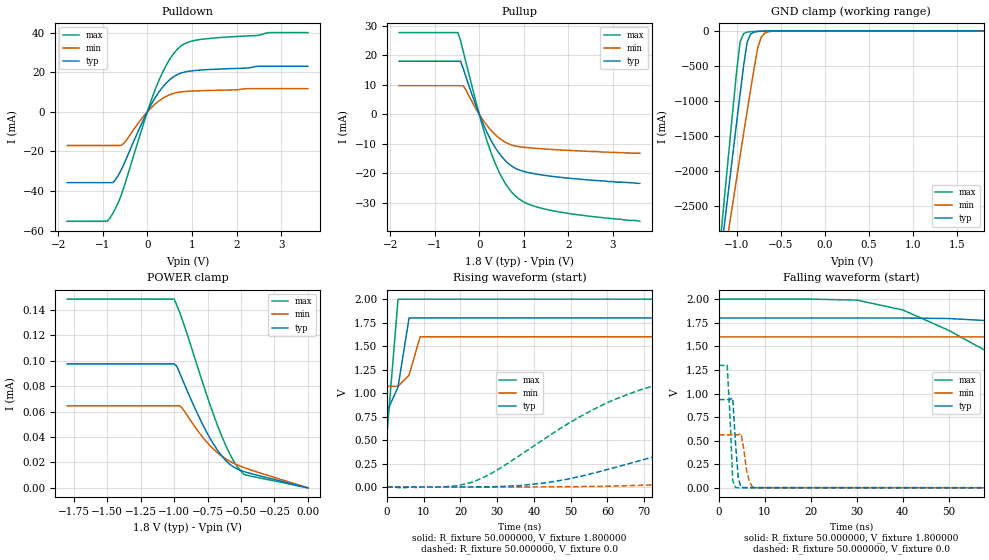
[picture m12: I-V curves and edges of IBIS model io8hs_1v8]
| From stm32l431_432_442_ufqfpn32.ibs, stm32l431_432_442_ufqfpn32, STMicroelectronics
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|   Model io8hs_1v8
[Model]  io8hs_1v8
Model_type I/O
Polarity   Non-Inverting
Enable   Active-Low
Vinl =   0.540000V
Vinh =   1.260000V
Vmeas =  0.900000V
Cref =   100.000000nF
Rref =   1.000000k
Vref =   1.800000V
C_comp   2.197300pF   2.162700pF   2.264100pF
[Temperature Range]   25.000000   0.125000k   -40.000000
[Pullup Reference]   1.800000V   1.600000V   2.000000V
[Pulldown Reference]   0.0V   0.0V   0.0V
[POWER Clamp Reference]   1.800000V   1.600000V   2.000000V
[GND Clamp Reference]   0.0V   0.0V   0.0V
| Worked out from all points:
|   slope of the pulldown table from 0 to 0.27 V, typ, clamps not added: 26.2 ohm
|   slope of the pullup table from 0 to 0.27 V, typ, clamps not added: 30.1 ohm
|   GND clamp passes 1 mA (typ) near -0.58 V on its own axis
|   rising waveform, R_fixture 50.000000, V_fixture 1.800000: 20-80 % time 2.89ns typ, 2.57ns min, 1.8ns max; typ from 0.805 V to 1.8 V
|   rising waveform, R_fixture 50.000000, V_fixture 0.0: 20-80 % time 64.9ns typ, 104ns min, 36.1ns max; typ from 0.001 V to 0.935 V
|   falling waveform, R_fixture 50.000000, V_fixture 1.800000: 20-80 % time 66.6ns typ, 116ns min, 36ns max; typ from 1.8 V to 0.805 V
|   falling waveform, R_fixture 50.000000, V_fixture 0.0: 20-80 % time 812ps typ, 1.13ns min, 745ps max; typ from 0.935 V to 0.001 V
[Pulldown]
|Voltage   I(typ)   I(min)   I(max)
-1.8V     -35.82mA   -17.03mA   -55.35mA
-900mV    -35.82mA   -17.03mA   -55.35mA
-840mV    -35.82mA   -17.03mA   -53.76mA
-720mV    -34.49mA   -17.03mA   -49.08mA
-540mV    -27.18mA   -16.22mA   -39.07mA
-60mV     -2.756mA   -1.584mA   -4.226mA
240mV     9.353mA    5.171mA    14.85mA
480mV     15.75mA    8.427mA    25.77mA
720mV     19.29mA    9.947mA    32.62mA
960mV     20.57mA    10.43mA    35.5mA
1.32V     21.27mA    10.74mA    36.91mA
3.6V      23.03mA    11.73mA    40.04mA
[Pullup]
|Voltage   I(typ)   I(min)   I(max)
-1.8V     18.05mA    9.741mA    27.78mA
-480mV    18.05mA    9.741mA    27.78mA
-420mV    18.05mA    9.741mA    25.03mA
-360mV    15.57mA    9.741mA    21.38mA
60mV      -2.268mA   -1.401mA   -3.341mA
240mV     -8.143mA   -5.004mA   -12mA
360mV     -11.31mA   -6.914mA   -16.72mA
540mV     -15mA      -9.056mA   -22.31mA
840mV     -18.52mA   -10.83mA   -28.11mA
1.14V     -19.87mA   -11.38mA   -30.67mA
1.62V     -21.02mA   -11.91mA   -32.63mA
3.6V      -23.4mA    -13.2mA    -36.3mA
[GND_clamp]
|Voltage   I(typ)   I(min)   I(max)
-1.8V     -9.861A    -8.8A      -9.626A
-1.16V    -3.004A    -3.417A    -2.68A
-1.12V    -2.579A    -3.088A    -2.15A
-1.08V    -2.155A    -2.76A     -1.623A
-1V       -1.315A    -2.108A    -586.3mA
-960mV    -900.6mA   -1.784A    -158.3mA
-920mV    -496.8mA   -1.462A    -39.39mA
-880mV    -160.5mA   -1.144A    -17.82mA
-840mV    -45.92mA   -830.3mA   -12.52mA
-760mV    -8.262mA   -243mA     -7.547mA
-680mV    -3.389mA   -33.05mA   -3.833mA
1.8V      0A         0A         0A
[POWER_clamp]
|Voltage   I(typ)   I(min)   I(max)
-1.8V     97.61uA    64.61uA    148.6uA
-1V       97.61uA    64.61uA    148.6uA
-980mV    95.77uA    64.61uA    143.9uA
-960mV    90.85uA    64.61uA    138.6uA
-940mV    85.82uA    62.87uA    132.7uA
-820mV    57.18uA    44.44uA    93.74uA
-720mV    36.98uA    32uA       61.96uA
-620mV    22.23uA    23.29uA    34.8uA
-560mV    16.76uA    19.67uA    22.06uA
-520mV    14.49uA    17.74uA    15.63uA
-480mV    12.91uA    16.08uA    10.62uA
0V        0A         0A         0A
[Ramp]
| variable   typ   min   max
dV/dt_r  0.56074/65.15328n   0.33715/0.11613u   0.77863/36.11629n
dV/dt_f  0.59675/66.14092n   0.31608/0.11580u   0.86035/34.94520n
R_load = 50.000000
[Rising Waveform]
R_fixture= 50.000000
V_fixture= 1.800000
V_fixture_min= 1.600000
V_fixture_max= 2.000000
|time   V(typ)   V(min)   V(max)
0s        805.4mV    1.073V     566.1mV
3.003ns   1.065V     1.073V     1.999V
6.006ns   1.8V       1.192V     2V
9.009ns   1.8V       1.599V     2V
297.3ns   1.8V       1.6V       2V
[Rising Waveform]
R_fixture= 50.000000
V_fixture= 0.0
V_fixture_min= 0.0
V_fixture_max= 0.0
|time   V(typ)   V(min)   V(max)
0s        725.1uV    1.151mV    481.9uV
23.42ns   2.841mV    2.687mV    56.81mV
43.24ns   46.89mV    3.728mV    524.2mV
59.46ns   183mV      9.73mV     889.2mV
73.87ns   336.9mV    26.45mV    1.094V
85.89ns   460.2mV    51.49mV    1.187V
119.5ns   720.9mV    166.7mV    1.273V
156.2ns   853.9mV    302.9mV    1.293V
224.6ns   924.9mV    482.6mV    1.298V
299.1ns   935.3mV    563.1mV    1.298V
[Falling Waveform]
R_fixture= 50.000000
V_fixture= 1.800000
V_fixture_min= 1.600000
V_fixture_max= 2.000000
|time   V(typ)   V(min)   V(max)
0s        1.8V       1.6V       2V
30.03ns   1.8V       1.6V       1.99V
40.04ns   1.8V       1.6V       1.885V
70.07ns   1.719V     1.599V     1.128V
90.09ns   1.549V     1.591V     769.4mV
140.1ns   1.064V     1.498V     604.3mV
180.2ns   913.9mV    1.363V     578.4mV
290.3ns   820.2mV    1.144V     567mV
530.5ns   805.6mV    1.079V     566.1mV
4.985us   805.4mV    1.073V     566.1mV
[Falling Waveform]
R_fixture= 50.000000
V_fixture= 0.0
V_fixture_min= 0.0
V_fixture_max= 0.0
|time   V(typ)   V(min)   V(max)
0s        935.3mV    563.1mV    1.298V
1.802ns   935.4mV    563.1mV    1.301V
2.402ns   935.4mV    563.1mV    773mV
3.003ns   953.7mV    563.2mV    77.53mV
3.604ns   479.7mV    563.3mV    5.144mV
4.204ns   107.9mV    562.9mV    2.737mV
4.805ns   7.298mV    576.1mV    2.398mV
6.607ns   2.497mV    71.8mV     2.314mV
7.808ns   2.421mV    3.987mV    2.304mV
299.1ns   725.1uV    1.151mV    481.9uV
